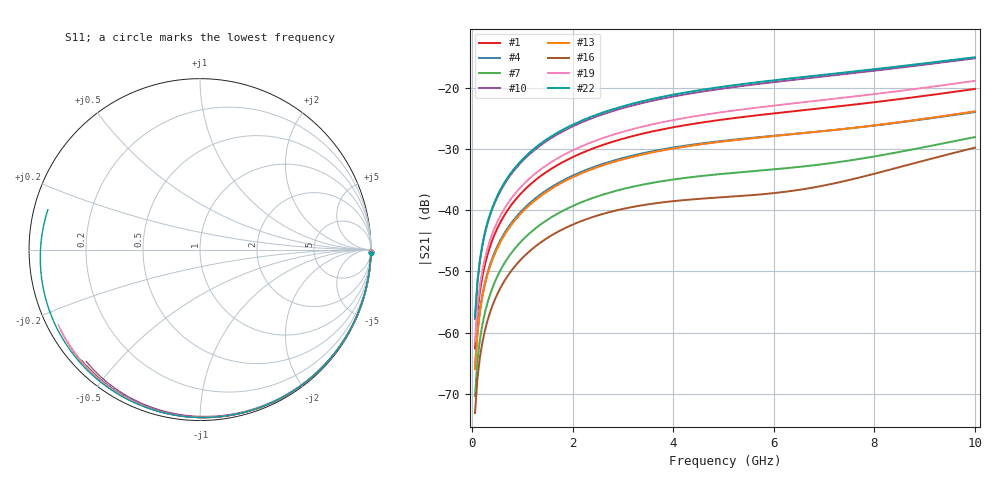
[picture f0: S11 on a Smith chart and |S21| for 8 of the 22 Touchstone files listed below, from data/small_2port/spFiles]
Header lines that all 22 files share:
! freq	dB(S11)	phase(S11)	dB(S12)	phase(S12)
!  dB(S21)	phase(S21)	dB(S22)	phase(S22)
!S-par simulation data
#  GHz  S  DB  R 50
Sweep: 50 MHz to 10 GHz
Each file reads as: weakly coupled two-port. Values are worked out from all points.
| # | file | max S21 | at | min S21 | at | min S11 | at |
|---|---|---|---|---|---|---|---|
| 1 | randomSmallGDS_pixelSize=8_sim=403.s2p | -20.20 dB | 10 GHz | -62.6 dB | 50 MHz | -0.5 dB | 10 GHz |
| 2 | randomSmallGDS_pixelSize=8_sim=405.s2p | -15.49 dB | 10 GHz | -58.3 dB | 50 MHz | -0.7 dB | 10 GHz |
| 3 | randomSmallGDS_pixelSize=8_sim=406.s2p | -22.17 dB | 10 GHz | -64.1 dB | 50 MHz | -0.5 dB | 10 GHz |
| 4 | randomSmallGDS_pixelSize=8_sim=407.s2p | -23.99 dB | 10 GHz | -65.7 dB | 50 MHz | -0.5 dB | 10 GHz |
| 5 | randomSmallGDS_pixelSize=8_sim=409.s2p | -27.23 dB | 10 GHz | -68.7 dB | 50 MHz | -0.5 dB | 10 GHz |
| 6 | randomSmallGDS_pixelSize=8_sim=412.s2p | -22.06 dB | 10 GHz | -63.7 dB | 50 MHz | -0.5 dB | 10 GHz |
| 7 | randomSmallGDS_pixelSize=8_sim=413.s2p | -28.07 dB | 10 GHz | -70.4 dB | 50 MHz | -0.5 dB | 10 GHz |
| 8 | randomSmallGDS_pixelSize=8_sim=414.s2p | -23.88 dB | 10 GHz | -65.6 dB | 50 MHz | -0.5 dB | 10 GHz |
| 9 | randomSmallGDS_pixelSize=8_sim=416.s2p | -28.76 dB | 10 GHz | -71.3 dB | 50 MHz | -0.4 dB | 10 GHz |
| 10 | randomSmallGDS_pixelSize=8_sim=419.s2p | -15.22 dB | 10 GHz | -57.8 dB | 50 MHz | -0.6 dB | 10 GHz |
| 11 | randomSmallGDS_pixelSize=8_sim=420.s2p | -29.53 dB | 10 GHz | -72.4 dB | 50 MHz | -0.5 dB | 10 GHz |
| 12 | randomSmallGDS_pixelSize=8_sim=421.s2p | -28.65 dB | 10 GHz | -70.5 dB | 50 MHz | -0.5 dB | 10 GHz |
| 13 | randomSmallGDS_pixelSize=8_sim=427.s2p | -23.88 dB | 10 GHz | -66.0 dB | 50 MHz | -0.5 dB | 10 GHz |
| 14 | randomSmallGDS_pixelSize=8_sim=428.s2p | -25.47 dB | 10 GHz | -67.3 dB | 50 MHz | -0.5 dB | 10 GHz |
| 15 | randomSmallGDS_pixelSize=8_sim=429.s2p | -24.99 dB | 10 GHz | -66.9 dB | 50 MHz | -0.5 dB | 10 GHz |
| 16 | randomSmallGDS_pixelSize=8_sim=430.s2p | -29.80 dB | 10 GHz | -73.1 dB | 50 MHz | -0.5 dB | 10 GHz |
| 17 | randomSmallGDS_pixelSize=8_sim=432.s2p | -26.29 dB | 10 GHz | -67.9 dB | 50 MHz | -0.4 dB | 10 GHz |
| 18 | randomSmallGDS_pixelSize=8_sim=434.s2p | -17.72 dB | 10 GHz | -61.1 dB | 50 MHz | -0.6 dB | 10 GHz |
| 19 | randomSmallGDS_pixelSize=8_sim=435.s2p | -18.88 dB | 10 GHz | -61.4 dB | 50 MHz | -0.6 dB | 10 GHz |
| 20 | randomSmallGDS_pixelSize=8_sim=436.s2p | -18.67 dB | 10 GHz | -60.5 dB | 50 MHz | -0.6 dB | 10 GHz |
| 21 | randomSmallGDS_pixelSize=8_sim=437.s2p | -22.10 dB | 10 GHz | -63.7 dB | 50 MHz | -0.5 dB | 10 GHz |
| 22 | randomSmallGDS_pixelSize=8_sim=439.s2p | -15.03 dB | 10 GHz | -57.6 dB | 50 MHz | -0.7 dB | 10 GHz |
